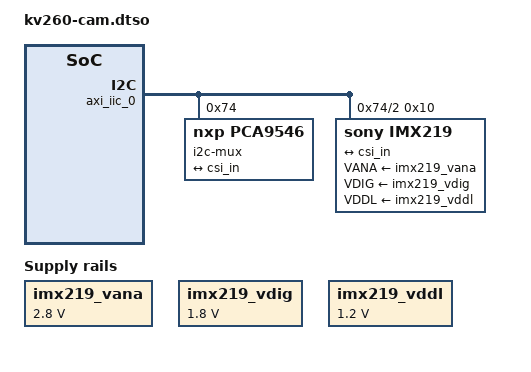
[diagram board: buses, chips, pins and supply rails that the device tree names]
/dts-v1/;
/plugin/;

&fpga_full {
    firmware-name = "kv260-cam.bit.bin";
    resets = <&zynqmp_reset 0x74>;
};

&amba {
    #address-cells = <2>;
    #size-cells = <2>;

    clocking0: clocking0 {
        #clock-cells = <0>;
        compatible = "xlnx,fclk";
        clocks = <&zynqmp_clk 71>;
        assigned-clocks = <&zynqmp_clk 71>;
        assigned-clock-rates = <99999999>;
        clock-output-names = "fabric_clk";
    };

    clocking1: clocking1 {
        #clock-cells = <0>;
        compatible = "xlnx,fclk";
        clocks = <&zynqmp_clk 72>;
        assigned-clocks = <&zynqmp_clk 72>;
        assigned-clock-rates = <199999998>;
        clock-output-names = "fabric_clk";
    };

    imx219_clk: imx219_clk {
        #clock-cells = <0>;
        compatible = "fixed-clock";
        clock-frequency = <24000000>;
    };

    imx219_vana: imx219_vana {
        compatible = "regulator-fixed";
        regulator-name = "imx219_vana";
        regulator-min-microvolt = <2800000>;
        regulator-max-microvolt = <2800000>;
    };

    imx219_vdig: imx219_vdig {
        compatible = "regulator-fixed";
        regulator-name = "imx219_vdig";
        regulator-min-microvolt = <1800000>;
        regulator-max-microvolt = <1800000>;
    };

    imx219_vddl: imx219_vddl {
        compatible = "regulator-fixed";
        regulator-name = "imx219_vddl";
        regulator-min-microvolt = <1200000>;
        regulator-max-microvolt = <1200000>;
    };

    axi_iic_0: i2c@a0010000 {
        compatible = "xlnx,axi-iic-2.1", "xlnx,xps-iic-2.00.a";
        reg = <0x0 0xa0010000 0x0 0x10000>;
        clocks = <&zynqmp_clk 71>;
        clock-names = "s_axi_aclk";
        interrupt-parent = <&gic>;
        interrupts = <0 89 4>;
        #address-cells = <1>;
        #size-cells = <0>;

        i2c-mux@74 {
            compatible = "nxp,pca9546";
            reg = <0x74>;
            #address-cells = <1>;
            #size-cells = <0>;

            i2c@0 { reg = <0>; #address-cells = <1>; #size-cells = <0>; };
            i2c@1 { reg = <1>; #address-cells = <1>; #size-cells = <0>; };

            i2c@2 {
                reg = <2>;
                #address-cells = <1>;
                #size-cells = <0>;

                imx219: sensor@10 {
                    compatible = "sony,imx219";
                    reg = <0x10>;
                    clocks = <&imx219_clk>;
                    clock-names = "xclk";
                    VANA-supply = <&imx219_vana>;
                    VDIG-supply = <&imx219_vdig>;
                    VDDL-supply = <&imx219_vddl>;

                    port {
                        imx219_0: endpoint {
                            remote-endpoint = <&csi_in>;
                            data-lanes = <1 2>;
                            clock-noncontinuous;
                            link-frequencies = /bits/ 64 <456000000>;
                        };
                    };
                };
            };

            i2c@3 { reg = <3>; #address-cells = <1>; #size-cells = <0>; };
        };
    };

    mipi_csi2_rx_subsyst_0: mipi_csi2_rx_subsystem@a0020000 {
        compatible = "xlnx,mipi-csi2-rx-subsystem-3.0";
        reg = <0x0 0xa0020000 0x0 0x2000>;
        status = "disabled";

        ports {
            #address-cells = <1>;
            #size-cells = <0>;
            port@0 {
                reg = <0>;
                csi_in: endpoint {
                    remote-endpoint = <&imx219_0>;
                    data-lanes = <1 2>;
                };
            };
        };
    };

    v_frmbuf_wr_0: v_frmbuf_wr@a0000000 {
        compatible = "xlnx,v-frmbuf-wr-3.1", "xlnx,v-frmbuf-wr-v3.0", "xlnx,axi-frmbuf-wr-v2.2";
        reg = <0x0 0xa0000000 0x0 0x10000>;
        #dma-cells = <1>;
        interrupt-parent = <&gic>;
        interrupt-names = "interrupt";
        interrupts = <0 104 4>;
        clocks = <&zynqmp_clk 71>;
        clock-names = "ap_clk";
        reset-gpios = <&gpio 79 1>;
        xlnx,dma-addr-width = <32>;
        xlnx,dma-align = <8>;
        xlnx,pixels-per-clock = <1>;
        xlnx,vid-formats = "y10";
        xlnx,max-width = <1920>;
        xlnx,max-height = <1080>;
        xlnx,max-nr-planes = <1>;
        xlnx,has-y10 = <1>;
    };

    camcap: camcap@0 {
        compatible = "kv260,camcap";
        dmas = <&v_frmbuf_wr_0 0>;
        dma-names = "rx";
    };
};
